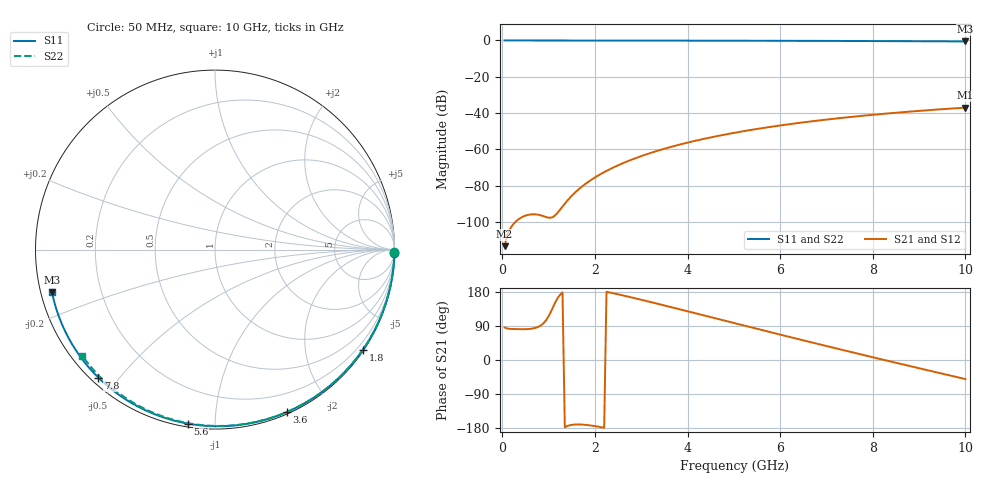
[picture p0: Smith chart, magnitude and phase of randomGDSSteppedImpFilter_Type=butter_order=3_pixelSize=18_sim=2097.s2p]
! freq	dB(S11)	phase(S11)	dB(S12)	phase(S12)
!  dB(S21)	phase(S21)	dB(S22)	phase(S22)
!S-par simulation data
#  GHz  S  DB  R 50
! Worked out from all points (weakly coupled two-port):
!   200 points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, 50 MHz to 10 GHz, reference 50 ohm
!   highest |S21| = -36.97 dB at 10 GHz (marker M1); lowest = -113.2 dB at 50 MHz (marker M2)
!   lowest |S11| = -0.5 dB at 10 GHz (marker M3), VSWR 31.60, Z = 1.61 - j6.39 ohm
!   |S11| at or under -10 dB: nowhere
!   |S22| runs from -0.5 to 0.0 dB; largest |S21 - S12| = 0
!   S11 on the Smith chart (normalised r, x): 50 MHz: open; 1.8 GHz: 0.03, -3.27; 3.6 GHz: 0.02, -1.54; 5.6 GHz: 0.02, -0.86; 7.8 GHz: 0.02, -0.44; 10 GHz: 0.03, -0.13
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0.05  -0.00 -1.0  -113.25 85.6  -113.25 85.6  -0.00 -0.8
0.45  -0.01 -8.7  -96.94 81.2  -96.94 81.2  -0.01 -7.4
0.85  -0.02 -16.3  -96.40 92.8  -96.40 92.8  -0.02 -13.9
1.3  -0.03 -24.7  -91.41 178.4  -91.41 178.4  -0.03 -21.1
1.75  -0.04 -33.1  -79.84 -170.6  -79.84 -170.6  -0.04 -28.2
1.8  -0.04 -34.0  -78.87 -171.1  -78.87 -171.1  -0.04 -29.0
2.1  -0.05 -39.5  -73.90 -176.6  -73.90 -176.6  -0.04 -33.8
2.3  -0.06 -43.2  -71.15 178.6  -71.15 178.6  -0.05 -36.9
2.5  -0.06 -46.8  -68.72 173.4  -68.72 173.4  -0.05 -40.0
2.9  -0.07 -53.9  -64.58 162.0  -64.58 162.0  -0.06 -46.1
3.4  -0.08 -62.7  -60.36 147.0  -60.36 147.0  -0.07 -53.7
3.6  -0.09 -66.1  -58.89 140.9  -58.89 140.9  -0.08 -56.7
4.3  -0.11 -77.9  -54.47 119.3  -54.47 119.3  -0.09 -66.9
5.05  -0.14 -90.2  -50.66 96.1  -50.66 96.1  -0.12 -77.6
5.6  -0.16 -98.9  -48.32 79.2  -48.32 79.2  -0.14 -85.1
6.15  -0.19 -107.4  -46.27 62.4  -46.27 62.4  -0.16 -92.6
6.7  -0.23 -115.8  -44.46 45.8  -44.46 45.8  -0.19 -99.8
7.25  -0.26 -124.1  -42.85 29.4  -42.85 29.4  -0.23 -107.0
7.8  -0.31 -132.3  -41.41 13.1  -41.41 13.1  -0.27 -114.0
8.35  -0.36 -140.5  -40.12 -3.0  -40.12 -3.0  -0.31 -120.9
9.2  -0.45 -153.2  -38.38 -27.5  -38.38 -27.5  -0.39 -131.5
10  -0.55 -165.4  -36.97 -50.3  -36.97 -50.3  -0.48 -141.4
